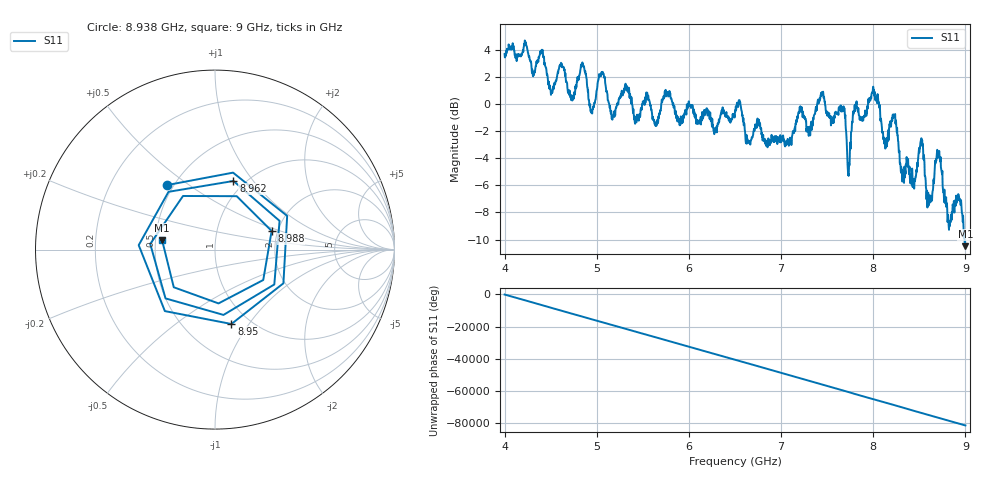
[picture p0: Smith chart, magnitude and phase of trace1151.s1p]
! Created with skrf 1.8.0 (http://scikit-rf.org).
# Hz S RI R 50.0
!freq ReS11 ImS11
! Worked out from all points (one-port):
!   1601 points, 4 GHz to 9 GHz, reference 50 ohm
!   lowest |S11| = -10.5 dB at 9 GHz (marker M1), VSWR 1.85, Z = 27.1 + j3.05 ohm
!   |S11| at or under -10 dB: 8.991253 GHz to end of sweep
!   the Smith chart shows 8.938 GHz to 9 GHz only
!   S11 on the Smith chart (normalised r, x): 8.938 GHz: 0.46, +0.42; 8.95 GHz: 0.82, -0.83; 8.962 GHz: 0.89, +0.80; 8.988 GHz: 1.86, +0.43; 9 GHz: 0.54, +0.06
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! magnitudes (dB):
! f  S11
! 4 GHz  3.7
! 4.403 GHz  4.0
! 4.509 GHz  0.8
! 4.625 GHz  2.7
! 4.725 GHz  0.7
! 4.853 GHz  2.9
! 4.944 GHz  -0.5
! 5.05 GHz  2.3
! 5.166 GHz  -0.9
! 5.25 GHz  0.5
! 5.875 GHz  -1.3
! 6.5 GHz  -0.4
! 7.125 GHz  -2.1
! 7.444 GHz  0.9
! 7.672 GHz  -0.3
! 7.75 GHz  -3.4
! 7.803 GHz  -0.5
! 8 GHz  1.3
! 8.375 GHz  -4.5
! 8.519 GHz  -2.6
! 8.612 GHz  -7.1
! 8.706 GHz  -3.6
! 8.825 GHz  -8.7
! 8.938 GHz  -7.0
! 8.95 GHz  -7.4
! 8.962 GHz  -8.0
! 8.988 GHz  -9.6
! 9 GHz  -10.5
